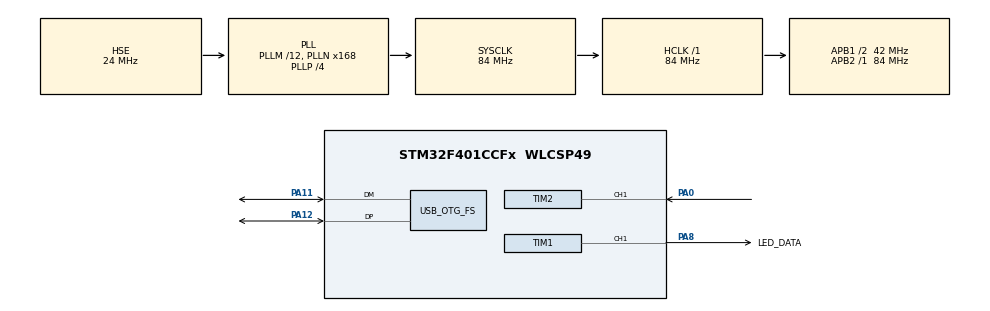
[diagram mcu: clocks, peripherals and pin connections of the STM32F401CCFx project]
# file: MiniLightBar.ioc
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Dma.Request0=TIM1_CH1
Dma.TIM1_CH1.0.Direction=DMA_MEMORY_TO_PERIPH
Dma.TIM1_CH1.0.FIFOMode=DMA_FIFOMODE_DISABLE
Dma.TIM1_CH1.0.Instance=DMA2_Stream1
Dma.TIM1_CH1.0.MemDataAlignment=DMA_MDATAALIGN_HALFWORD
Dma.TIM1_CH1.0.MemInc=DMA_MINC_ENABLE
Dma.TIM1_CH1.0.Mode=DMA_NORMAL
Dma.TIM1_CH1.0.PeriphDataAlignment=DMA_PDATAALIGN_HALFWORD
Dma.TIM1_CH1.0.PeriphInc=DMA_PINC_DISABLE
Dma.TIM1_CH1.0.Priority=DMA_PRIORITY_LOW
Mcu.Family=STM32F4
Mcu.Name=STM32F401CCFx
Mcu.Package=WLCSP49
NVIC.DMA2_Stream1_IRQn=true\:0\:0\:false\:false\:true\:false\:true
NVIC.OTG_FS_IRQn=true\:0\:0\:false\:false\:true\:false\:true
NVIC.PriorityGroup=NVIC_PRIORITYGROUP_4
NVIC.TIM2_IRQn=true\:0\:0\:false\:false\:true\:true\:true
PA0-WKUP.Signal=S_TIM2_CH1_ETR
PA11.Mode=Device_Only
PA11.Signal=USB_OTG_FS_DM
PA12.Mode=Device_Only
PA12.Signal=USB_OTG_FS_DP
PA13.Mode=Serial_Wire
PA13.Signal=SYS_JTMS-SWDIO
PA14.Mode=Serial_Wire
PA14.Signal=SYS_JTCK-SWCLK
PA8.GPIO_Label=LED_DATA
PA8.GPIO_Speed=GPIO_SPEED_FREQ_MEDIUM
PA8.Signal=S_TIM1_CH1
PH0\ -\ OSC_IN.Mode=HSE-External-Oscillator
PH0\ -\ OSC_IN.Signal=RCC_OSC_IN
PH1\ -\ OSC_OUT.Mode=HSE-External-Oscillator
PH1\ -\ OSC_OUT.Signal=RCC_OSC_OUT
ProjectManager.HeapSize=0x200
ProjectManager.StackSize=0x400
ProjectManager.TargetToolchain=STM32CubeIDE
RCC.48MHZClocksFreq_Value=48000000
RCC.AHBFreq_Value=84000000
RCC.APB1CLKDivider=RCC_HCLK_DIV2
RCC.APB1Freq_Value=42000000
RCC.APB1TimFreq_Value=84000000
RCC.APB2Freq_Value=84000000
RCC.APB2TimFreq_Value=84000000
RCC.CortexFreq_Value=84000000
RCC.HCLKFreq_Value=84000000
RCC.HSE_VALUE=24000000
RCC.HSI_VALUE=16000000
RCC.LSE_VALUE=32768
RCC.PLLM=12
RCC.PLLN=168
RCC.PLLP=RCC_PLLP_DIV4
RCC.PLLQ=7
RCC.SYSCLKFreq_VALUE=84000000
RCC.SYSCLKSource=RCC_SYSCLKSOURCE_PLLCLK
RCC.VCOOutputFreq_Value=336000000
SH.S_TIM1_CH1.0=TIM1_CH1,PWM Generation1 CH1
SH.S_TIM2_CH1_ETR.0=TIM2_CH1,PWM_Input_1
TIM1.AutoReloadPreload=TIM_AUTORELOAD_PRELOAD_DISABLE
TIM1.Channel-PWM\ Generation1\ CH1=TIM_CHANNEL_1
TIM1.Period=100
USB_DEVICE.CLASS_NAME_FS=CDC
USB_DEVICE.VirtualMode=Cdc
USB_DEVICE.VirtualModeFS=Cdc_FS
USB_OTG_FS.VirtualMode=Device_Only
VP_TIM1_VS_ClockSourceINT.Mode=Internal
VP_TIM2_VS_ClockSourceINT.Mode=Internal
VP_USB_DEVICE_VS_USB_DEVICE_CDC_FS.Mode=CDC_FS
board=custom

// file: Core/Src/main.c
/* USER CODE BEGIN Header */
/**
 ******************************************************************************
 * @file           : main.c
 * @brief          : Main program body
 ******************************************************************************
 * @attention
 *
 * Copyright (c) 2023 STMicroelectronics.
 * All rights reserved.
 *
 * This software is licensed under terms that can be found in the LICENSE file
 * in the root directory of this software component.
 * If no LICENSE file comes with this software, it is provided AS-IS.
 *
 ******************************************************************************
 */
/* USER CODE END Header */
#include "main.h"
#include "usb_device.h"

/* USER CODE BEGIN Includes */

#include <stdbool.h>
#include <math.h>
#include <utils.h>
#include <LEDCtrl.h>
#include <pwmIn.h>
#include <timerEvents.h>
#include <serialInterface.h>

/* USER CODE END Includes */

TIM_HandleTypeDef htim1;
TIM_HandleTypeDef htim2;
DMA_HandleTypeDef hdma_tim1_ch1;

void SystemClock_Config(void);
static void MX_GPIO_Init(void);
static void MX_DMA_Init(void);
static void MX_TIM1_Init(void);
static void MX_TIM2_Init(void);

int main(void) {

	/* MCU Configuration--------------------------------------------------------*/

	/* Reset of all peripherals, Initializes the Flash interface and the Systick. */
	HAL_Init();

	/* Configure the system clock */
	SystemClock_Config();

	/* USER CODE BEGIN SysInit */

	pwm_init();

	/* USER CODE END SysInit */

	/* Initialize all configured peripherals */
	MX_GPIO_Init();
	MX_DMA_Init();
	MX_TIM1_Init();
	MX_USB_DEVICE_Init();
	MX_TIM2_Init();
	/* USER CODE BEGIN 2 */

	// PWM duty cycle detection
	HAL_TIM_IC_Start_IT(&htim2, TIM_CHANNEL_1);   // main channel
	HAL_TIM_IC_Start(&htim2, TIM_CHANNEL_2);   // indirect channel

	/* USER CODE END 2 */

	/* Infinite loop */
	/* USER CODE BEGIN WHILE */

	// Enabled global state
	uint8_t blinkCounter = 0;
	const uint8_t blinkHalfPeriodLoops = 5;
	bool colorActive = false;
	float curTime = 0;

	while (1) {

		/* USER CODE END WHILE */

		/* USER CODE BEGIN 3 */

		if (timer_20msTimerTriggered()) {
			// Code to handle a 20ms event

			curTime += 0.02;

			// Start by assuming all LED's are off
			Clear_LED();

			if (pwm_isActive()) {
				//Active control value

				// Use ctrl val to change hue/blink
				float ctrlFrac = pwm_getCtrlVal();
				float ctrlFracAbs = fabs(ctrlFrac);

				if (ctrlFracAbs < PWM_CTRL_DEADZONE) {
					//inside deadzone - leds off
				} else {

					// Decide if we need the LED's on or off
					if (ctrlFrac > 0.0) {
						colorActive = true; //if we're not blinking, we should show a color
					} else {
						//if we are blinking, flip the state every few loops
						if (blinkCounter == blinkHalfPeriodLoops - 1) {
							colorActive = !colorActive;
							blinkCounter = 0;
						} else {
							blinkCounter++;
						}
					}

					//If On, use ctrlFrac to drive what color/pattern
					const float whiteMax = 0.99;
					bool isWhite = ctrlFracAbs > whiteMax;
					float hueCmd = map(ctrlFracAbs, PWM_CTRL_DEADZONE,
							whiteMax, HUE_MIN, HUE_MAX);
					float valCmd = colorActive ? 1.0 : 0.0;
					static float curVal = 0.0;
					IIR1(valCmd, &curVal, 0.7);

					hsv_t ledColor;
					ledColor.h = hueCmd;
					ledColor.s = isWhite ? 0.0 : 1.0;
					ledColor.v = curVal;
					for (int i = 0; i < MAX_LED; i++) {
						Set_LED(i, hsv2rgb(ledColor));
					}

				}

			} else {
				// Inactive control, do a "disabled" pattern - dual cylon

				for (int i = 0; i < MAX_LED/2; i++) {
					hsv_t ledColor;

					float pattern = sinf(2.0*3.14159*0.5*(curTime + i*0.25));
					//pattern = powf(pattern,2) * (pattern > 0 ? 1.0 : -1.0);
					pattern = MAX(0.0, pattern);

					ledColor.h = 0.0; // pure red hue
					ledColor.s = 1.0-pattern;
					ledColor.v = 1.0;

					Set_LED(i, hsv2rgb(ledColor));
					Set_LED(MAX_LED-i-1, hsv2rgb(ledColor));

				}

			}

			WS2812_Send();
			serial_update();
			timer_reset20msTimer();
		}

	}
	/* USER CODE END 3 */
}

void SystemClock_Config(void) {
	RCC_OscInitTypeDef RCC_OscInitStruct = { 0 };
	RCC_ClkInitTypeDef RCC_ClkInitStruct = { 0 };

	/** Configure the main internal regulator output voltage
	 */
	__HAL_RCC_PWR_CLK_ENABLE();
	__HAL_PWR_VOLTAGESCALING_CONFIG(PWR_REGULATOR_VOLTAGE_SCALE2);
	/** Initializes the RCC Oscillators according to the specified parameters
	 * in the RCC_OscInitTypeDef structure.
	 */
	RCC_OscInitStruct.OscillatorType = RCC_OSCILLATORTYPE_HSE;
	RCC_OscInitStruct.HSEState = RCC_HSE_ON;
	RCC_OscInitStruct.PLL.PLLState = RCC_PLL_ON;
	RCC_OscInitStruct.PLL.PLLSource = RCC_PLLSOURCE_HSE;
	RCC_OscInitStruct.PLL.PLLM = 12;
	RCC_OscInitStruct.PLL.PLLN = 168;
	RCC_OscInitStruct.PLL.PLLP = RCC_PLLP_DIV4;
	RCC_OscInitStruct.PLL.PLLQ = 7;
	if (HAL_RCC_OscConfig(&RCC_OscInitStruct) != HAL_OK) {
		Error_Handler();
	}
	/** Initializes the CPU, AHB and APB buses clocks
	 */
	RCC_ClkInitStruct.ClockType = RCC_CLOCKTYPE_HCLK | RCC_CLOCKTYPE_SYSCLK
			| RCC_CLOCKTYPE_PCLK1 | RCC_CLOCKTYPE_PCLK2;
	RCC_ClkInitStruct.SYSCLKSource = RCC_SYSCLKSOURCE_PLLCLK;
	RCC_ClkInitStruct.AHBCLKDivider = RCC_SYSCLK_DIV1;
	RCC_ClkInitStruct.APB1CLKDivider = RCC_HCLK_DIV2;
	RCC_ClkInitStruct.APB2CLKDivider = RCC_HCLK_DIV1;

	if (HAL_RCC_ClockConfig(&RCC_ClkInitStruct, FLASH_LATENCY_2) != HAL_OK) {
		Error_Handler();
	}
}

static void MX_TIM1_Init(void) {

	TIM_ClockConfigTypeDef sClockSourceConfig = { 0 };
	TIM_MasterConfigTypeDef sMasterConfig = { 0 };
	TIM_OC_InitTypeDef sConfigOC = { 0 };
	TIM_BreakDeadTimeConfigTypeDef sBreakDeadTimeConfig = { 0 };

	htim1.Instance = TIM1;
	htim1.Init.Prescaler = 0;
	htim1.Init.CounterMode = TIM_COUNTERMODE_UP;
	htim1.Init.Period = 100;
	htim1.Init.ClockDivision = TIM_CLOCKDIVISION_DIV1;
	htim1.Init.RepetitionCounter = 0;
	htim1.Init.AutoReloadPreload = TIM_AUTORELOAD_PRELOAD_DISABLE;
	if (HAL_TIM_Base_Init(&htim1) != HAL_OK) {
		Error_Handler();
	}
	sClockSourceConfig.ClockSource = TIM_CLOCKSOURCE_INTERNAL;
	if (HAL_TIM_ConfigClockSource(&htim1, &sClockSourceConfig) != HAL_OK) {
		Error_Handler();
	}
	if (HAL_TIM_PWM_Init(&htim1) != HAL_OK) {
		Error_Handler();
	}
	sMasterConfig.MasterOutputTrigger = TIM_TRGO_RESET;
	sMasterConfig.MasterSlaveMode = TIM_MASTERSLAVEMODE_DISABLE;
	if (HAL_TIMEx_MasterConfigSynchronization(&htim1, &sMasterConfig)
			!= HAL_OK) {
		Error_Handler();
	}
	sConfigOC.OCMode = TIM_OCMODE_PWM1;
	sConfigOC.Pulse = 0;
	sConfigOC.OCPolarity = TIM_OCPOLARITY_HIGH;
	sConfigOC.OCNPolarity = TIM_OCNPOLARITY_HIGH;
	sConfigOC.OCFastMode = TIM_OCFAST_DISABLE;
	sConfigOC.OCIdleState = TIM_OCIDLESTATE_RESET;
	sConfigOC.OCNIdleState = TIM_OCNIDLESTATE_RESET;
	if (HAL_TIM_PWM_ConfigChannel(&htim1, &sConfigOC, TIM_CHANNEL_1)
			!= HAL_OK) {
		Error_Handler();
	}
	sBreakDeadTimeConfig.OffStateRunMode = TIM_OSSR_DISABLE;
	sBreakDeadTimeConfig.OffStateIDLEMode = TIM_OSSI_DISABLE;
	sBreakDeadTimeConfig.LockLevel = TIM_LOCKLEVEL_OFF;
	sBreakDeadTimeConfig.DeadTime = 0;
	sBreakDeadTimeConfig.BreakState = TIM_BREAK_DISABLE;
	sBreakDeadTimeConfig.BreakPolarity = TIM_BREAKPOLARITY_HIGH;
	sBreakDeadTimeConfig.AutomaticOutput = TIM_AUTOMATICOUTPUT_DISABLE;
	if (HAL_TIMEx_ConfigBreakDeadTime(&htim1, &sBreakDeadTimeConfig)
			!= HAL_OK) {
		Error_Handler();
	}
	HAL_TIM_MspPostInit(&htim1);

}

static void MX_TIM2_Init(void) {

	TIM_ClockConfigTypeDef sClockSourceConfig = { 0 };
	TIM_SlaveConfigTypeDef sSlaveConfig = { 0 };
	TIM_IC_InitTypeDef sConfigIC = { 0 };
	TIM_MasterConfigTypeDef sMasterConfig = { 0 };

	htim2.Instance = TIM2;
	htim2.Init.Prescaler = 0;
	htim2.Init.CounterMode = TIM_COUNTERMODE_UP;
	htim2.Init.Period = 4294967295;
	htim2.Init.ClockDivision = TIM_CLOCKDIVISION_DIV1;
	htim2.Init.AutoReloadPreload = TIM_AUTORELOAD_PRELOAD_DISABLE;
	if (HAL_TIM_Base_Init(&htim2) != HAL_OK) {
		Error_Handler();
	}
	sClockSourceConfig.ClockSource = TIM_CLOCKSOURCE_INTERNAL;
	if (HAL_TIM_ConfigClockSource(&htim2, &sClockSourceConfig) != HAL_OK) {
		Error_Handler();
	}
	if (HAL_TIM_IC_Init(&htim2) != HAL_OK) {
		Error_Handler();
	}
	sSlaveConfig.SlaveMode = TIM_SLAVEMODE_RESET;
	sSlaveConfig.InputTrigger = TIM_TS_TI1FP1;
	sSlaveConfig.TriggerPolarity = TIM_INPUTCHANNELPOLARITY_RISING;
	sSlaveConfig.TriggerPrescaler = TIM_ICPSC_DIV1;
	sSlaveConfig.TriggerFilter = 0;
	if (HAL_TIM_SlaveConfigSynchro(&htim2, &sSlaveConfig) != HAL_OK) {
		Error_Handler();
	}
	sConfigIC.ICPolarity = TIM_INPUTCHANNELPOLARITY_RISING;
	sConfigIC.ICSelection = TIM_ICSELECTION_DIRECTTI;
	sConfigIC.ICPrescaler = TIM_ICPSC_DIV1;
	sConfigIC.ICFilter = 0;
	if (HAL_TIM_IC_ConfigChannel(&htim2, &sConfigIC, TIM_CHANNEL_1) != HAL_OK) {
		Error_Handler();
	}
	sConfigIC.ICPolarity = TIM_INPUTCHANNELPOLARITY_FALLING;
	sConfigIC.ICSelection = TIM_ICSELECTION_INDIRECTTI;
	if (HAL_TIM_IC_ConfigChannel(&htim2, &sConfigIC, TIM_CHANNEL_2) != HAL_OK) {
		Error_Handler();
	}
	sMasterConfig.MasterOutputTrigger = TIM_TRGO_RESET;
	sMasterConfig.MasterSlaveMode = TIM_MASTERSLAVEMODE_DISABLE;
	if (HAL_TIMEx_MasterConfigSynchronization(&htim2, &sMasterConfig)
			!= HAL_OK) {
		Error_Handler();
	}
	/* USER CODE BEGIN TIM2_Init 2 */

	sConfigIC.ICPolarity = TIM_INPUTCHANNELPOLARITY_RISING;
	sConfigIC.ICSelection = TIM_ICSELECTION_DIRECTTI;
	sConfigIC.ICPrescaler = TIM_ICPSC_DIV8;   // This was set to TIM_ICPSC_DIV1
	sConfigIC.ICFilter = 0;
	if (HAL_TIM_IC_ConfigChannel(&htim2, &sConfigIC, TIM_CHANNEL_1) != HAL_OK) {
		Error_Handler();
	}

	/* USER CODE END TIM2_Init 2 */

}

static void MX_DMA_Init(void) {

	/* DMA controller clock enable */
	__HAL_RCC_DMA2_CLK_ENABLE();

	/* DMA interrupt init */
	/* DMA2_Stream1_IRQn interrupt configuration */
	HAL_NVIC_SetPriority(DMA2_Stream1_IRQn, 0, 0);
	HAL_NVIC_EnableIRQ(DMA2_Stream1_IRQn);

}

static void MX_GPIO_Init(void) {

	/* GPIO Ports Clock Enable */
	__HAL_RCC_GPIOA_CLK_ENABLE();
	__HAL_RCC_GPIOH_CLK_ENABLE();

}

void Error_Handler(void) {
	__disable_irq();
	while (1) {
	}
}
